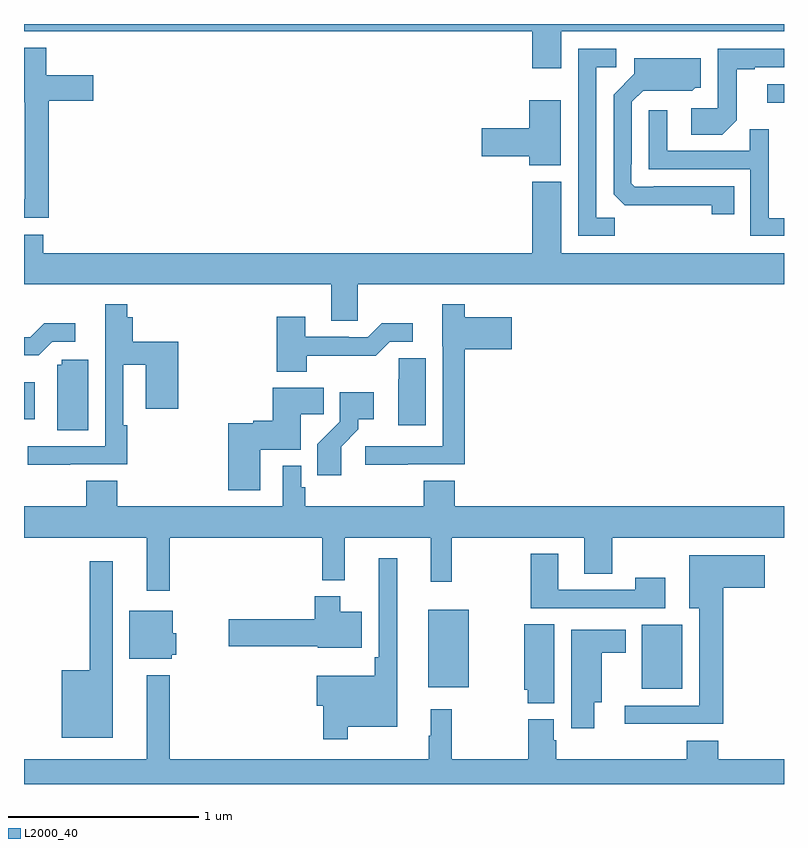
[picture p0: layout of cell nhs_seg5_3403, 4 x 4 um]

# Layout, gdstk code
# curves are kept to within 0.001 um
import gdstk
lib = gdstk.Library(unit=1e-6, precision=1e-09)
def R(c, l, rs):  # rectangles x0, y0, x1, y1
    for r in rs: c.add(gdstk.rectangle(r[:2], r[2:], *l))
def P(c, l, *ps):  # polygons
    for p in ps: c.add(gdstk.Polygon(p, *l))
L2000_40 = (2000, 40)

nhs_seg5_3403 = lib.new_cell('nhs_seg5_3403')
R(nhs_seg5_3403, L2000_40, [(314.252,853.301,314.464,853.636), (313.127,853.307,313.342,853.717), (311,854.72,311.056,854.914), (314.913,856.385,315,856.482)])
P(nhs_seg5_3403, L2000_40, [(311,856.76),(313.676,856.76),(313.676,856.566),(313.828,856.566),(313.828,856.76),(315,856.76),(315,856.799),(311,856.799)],
  [(311.129,856.394),(311.365,856.394),(311.365,856.528),(311.116,856.528),(311.116,856.675),(311,856.675),(311,856.388),(311.003,856.388),(311.003,855.876),(311,855.876),(311,855.779),(311.129,855.779)],
  [(314.109,855.779),(314.013,855.779),(314.013,856.572),(314.116,856.572),(314.116,856.668),(313.917,856.668),(313.917,855.684),(314.109,855.684)],
  [(314.751,856.292),(314.751,856.56),(314.845,856.56),(314.845,856.572),(315,856.572),(315,856.668),(314.652,856.668),(314.652,856.356),(314.511,856.356),(314.511,856.216),(314.675,856.216)],
  [(314.738,855.945),(314.314,855.945),(314.314,855.942),(314.214,855.942),(314.196,855.96),(314.196,856.06),(314.199,856.06),(314.199,856.389),(314.259,856.449),(314.516,856.448),(314.532,856.464),(314.563,856.464),(314.563,856.618),(314.213,856.618),(314.213,856.536),(314.103,856.426),(314.103,855.904),(314.162,855.845),(314.62,855.844),(314.62,855.798),(314.738,855.798)],
  [(313.825,856.399),(313.658,856.399),(313.658,856.25),(313.41,856.25),(313.41,856.103),(313.658,856.103),(313.658,856.055),(313.825,856.055)],
  [(315,855.777),(314.919,855.777),(314.919,856.244),(314.821,856.244),(314.821,856.131),(314.385,856.131),(314.385,856.345),(314.289,856.345),(314.289,856.035),(314.823,856.035),(314.823,855.684),(315,855.684)],
  [(312.756,855.428),(315,855.428),(315,855.592),(313.828,855.592),(313.828,855.97),(313.676,855.97),(313.676,855.592),(311.102,855.592),(311.102,855.691),(311,855.691),(311,855.428),(312.617,855.428),(312.617,855.238),(312.756,855.238)],
  [(311.243,854.481),(311.543,854.481),(311.543,854.687),(311.523,854.687),(311.523,855.005),(311.642,855.005),(311.642,854.775),(311.813,854.775),(311.813,855.127),(311.573,855.127),(311.573,855.256),(311.543,855.256),(311.543,855.325),(311.427,855.325),(311.427,854.577),(311.019,854.577),(311.019,854.479),(311.243,854.479)],
  [(313.019,854.481),(313.319,854.481),(313.319,855.086),(313.567,855.086),(313.567,855.256),(313.319,855.256),(313.319,855.325),(313.202,855.325),(313.202,855.102),(313.203,855.102),(313.203,854.577),(312.795,854.577),(312.795,854.479),(313.019,854.479)],
  [(312.489,855.054),(312.851,855.053),(312.924,855.126),(313.045,855.126),(313.045,855.223),(312.883,855.223),(312.81,855.15),(312.71,855.15),(312.71,855.153),(312.481,855.153),(312.481,855.259),(312.329,855.259),(312.329,854.969),(312.489,854.969)],
  [(311.148,855.126),(311.269,855.126),(311.269,855.223),(311.107,855.223),(311.034,855.15),(311,855.15),(311,855.056),(311.077,855.056)],
  [(313.114,855.041),(312.972,855.041),(312.972,854.93),(312.971,854.93),(312.971,854.688),(313.114,854.688)],
  [(311.338,855.033),(311.199,855.033),(311.199,855.006),(311.174,855.006),(311.174,854.662),(311.338,854.662)],
  [(312.244,854.558),(312.457,854.558),(312.457,854.746),(312.578,854.746),(312.578,854.884),(312.308,854.884),(312.308,854.711),(312.207,854.711),(312.207,854.698),(312.074,854.698),(312.074,854.346),(312.244,854.346)],
  [(312.67,854.575),(312.76,854.665),(312.76,854.72),(312.841,854.72),(312.841,854.86),(312.663,854.86),(312.663,854.705),(312.544,854.586),(312.544,854.424),(312.67,854.424)],
  [(311.767,854.096),(312.571,854.096),(312.571,853.871),(312.689,853.871),(312.689,854.096),(313.142,854.096),(313.142,853.863),(313.252,853.863),(313.252,854.096),(313.949,854.096),(313.949,853.906),(314.097,853.906),(314.097,854.096),(315,854.096),(315,854.26),(313.268,854.26),(313.268,854.396),(313.103,854.396),(313.103,854.26),(312.479,854.26),(312.479,854.361),(312.459,854.361),(312.459,854.473),(312.363,854.473),(312.363,854.26),(311.492,854.26),(311.492,854.396),(311.327,854.396),(311.327,854.26),(311,854.26),(311,854.096),(311.645,854.096),(311.645,853.815),(311.767,853.815)],
  [(314.374,853.885),(314.218,853.885),(314.218,853.821),(313.813,853.821),(313.813,854.011),(313.666,854.011),(313.666,853.725),(314.374,853.725)],
  [(314.681,853.832),(314.899,853.832),(314.899,854.002),(314.501,854.002),(314.501,853.724),(314.555,853.724),(314.555,853.212),(314.163,853.212),(314.163,853.115),(314.681,853.115)],
  [(312.703,853.1),(312.964,853.1),(312.964,853.987),(312.867,853.987),(312.867,853.465),(312.847,853.465),(312.847,853.369),(312.54,853.369),(312.54,853.211),(312.574,853.211),(312.574,853.035),(312.703,853.035)],
  [(311.467,853.972),(311.346,853.972),(311.346,853.399),(311.198,853.399),(311.198,853.043),(311.467,853.043)],
  [(312.778,853.705),(312.664,853.705),(312.664,853.786),(312.53,853.786),(312.53,853.665),(312.078,853.665),(312.078,853.523),(312.546,853.523),(312.546,853.517),(312.778,853.517)],
  [(311.778,853.479),(311.8,853.479),(311.8,853.593),(311.782,853.593),(311.782,853.711),(311.555,853.711),(311.555,853.457),(311.778,853.457)],
  [(313.792,853.64),(313.634,853.64),(313.634,853.296),(313.651,853.296),(313.651,853.225),(313.792,853.225)],
  [(314.002,853.229),(314.041,853.229),(314.041,853.49),(314.167,853.49),(314.167,853.612),(313.88,853.612),(313.88,853.092),(314.002,853.092)],
  [(315,852.928),(314.654,852.928),(314.654,853.027),(314.489,853.027),(314.489,852.928),(313.802,852.928),(313.802,853.029),(313.789,853.029),(313.789,853.14),(313.654,853.14),(313.654,852.928),(313.252,852.928),(313.252,853.192),(313.142,853.192),(313.142,853.052),(313.131,853.052),(313.131,852.928),(311.767,852.928),(311.767,853.372),(311.645,853.372),(311.645,852.928),(311,852.928),(311,852.799),(315,852.799)])

lib.write_gds('nhs_seg5_3403.gds')
